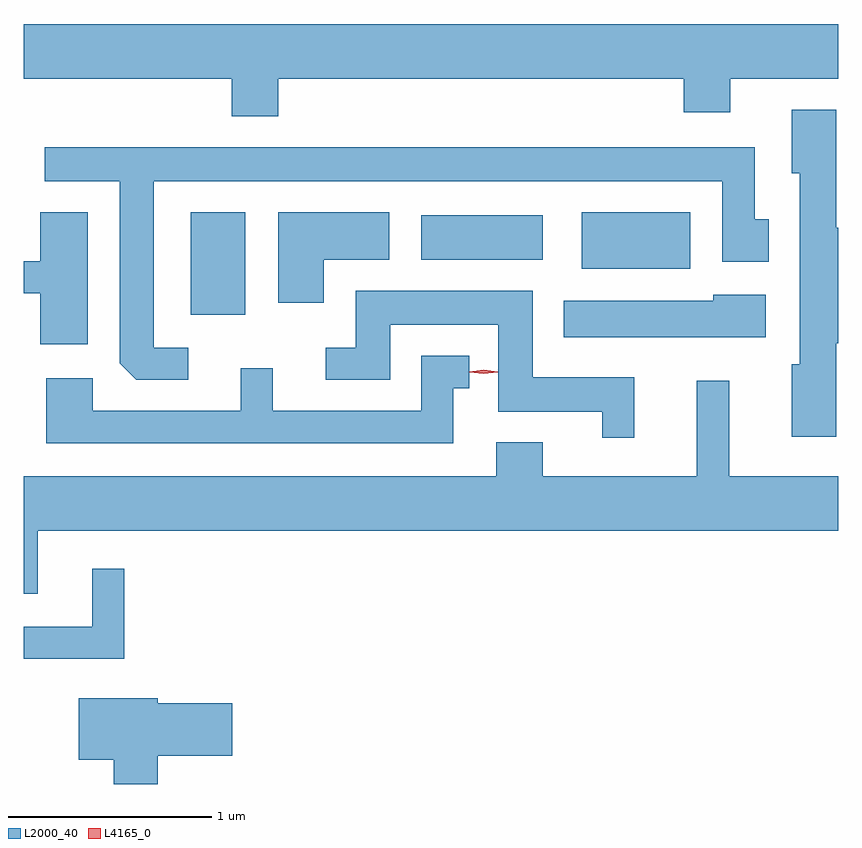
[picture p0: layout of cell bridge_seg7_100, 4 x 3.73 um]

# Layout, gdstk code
import gdstk
lib = gdstk.Library(unit=1e-6, precision=1e-09)
def R(c, l, rs):  # rectangles x0, y0, x1, y1
    for r in rs: c.add(gdstk.rectangle(r[:2], r[2:], *l))
def P(c, l, *ps):  # polygons
    for p in ps: c.add(gdstk.Polygon(p, *l))
L2000_40 = (2000, 40)
L4165_0 = (4165, 0)

bridge_seg7_100 = lib.new_cell('bridge_seg7_100')
R(bridge_seg7_100, L2000_40, [(1601.681,1750.896,1601.949,1751.399), (1603.601,1751.121,1604.134,1751.399), (1602.811,1751.166,1603.409,1751.384)])
P(bridge_seg7_100, L2000_40, [(1602.109,1752.056),(1604.101,1752.056),(1604.101,1751.891),(1604.329,1751.891),(1604.329,1752.056),(1604.86,1752.056),(1604.86,1752.324),(1600.86,1752.324),(1600.86,1752.056),(1601.881,1752.056),(1601.881,1751.871),(1602.109,1751.871)],
  [(1604.849,1750.756),(1604.86,1750.756),(1604.86,1751.324),(1604.849,1751.324),(1604.849,1751.904),(1604.631,1751.904),(1604.631,1751.591),(1604.671,1751.591),(1604.671,1750.654),(1604.631,1750.654),(1604.631,1750.296),(1604.849,1750.296)],
  [(1601.668,1750.734),(1601.499,1750.734),(1601.499,1751.551),(1604.291,1751.551),(1604.291,1751.156),(1604.519,1751.156),(1604.519,1751.364),(1604.449,1751.364),(1604.449,1751.719),(1600.963,1751.719),(1600.963,1751.551),(1601.331,1751.551),(1601.331,1750.657),(1601.412,1750.576),(1601.668,1750.576)],
  [(1601.174,1751.399),(1600.941,1751.399),(1600.941,1751.159),(1600.86,1751.159),(1600.86,1751.001),(1600.941,1751.001),(1600.941,1750.751),(1601.174,1750.751)],
  [(1602.334,1751.166),(1602.654,1751.166),(1602.654,1751.399),(1602.111,1751.399),(1602.111,1750.956),(1602.334,1750.956)],
  [(1603.859,1750.589),(1603.359,1750.589),(1603.359,1751.014),(1602.491,1751.014),(1602.491,1750.734),(1602.343,1750.734),(1602.343,1750.576),(1602.659,1750.576),(1602.659,1750.846),(1603.191,1750.846),(1603.191,1750.421),(1603.701,1750.421),(1603.701,1750.293),(1603.859,1750.293)],
  [(1604.504,1750.994),(1604.246,1750.994),(1604.246,1750.964),(1603.511,1750.964),(1603.511,1750.786),(1604.504,1750.786)],
  [(1602.969,1750.536),(1603.048,1750.536),(1603.048,1750.694),(1602.811,1750.694),(1602.811,1750.424),(1602.084,1750.424),(1602.084,1750.633),(1601.926,1750.633),(1601.926,1750.424),(1601.199,1750.424),(1601.199,1750.584),(1600.971,1750.584),(1600.971,1750.266),(1602.969,1750.266)],
  [(1600.929,1749.836),(1604.86,1749.836),(1604.86,1750.104),(1604.324,1750.104),(1604.324,1750.573),(1604.166,1750.573),(1604.166,1750.104),(1603.409,1750.104),(1603.409,1750.269),(1603.181,1750.269),(1603.181,1750.104),(1600.86,1750.104),(1600.86,1749.526),(1600.929,1749.526)],
  [(1601.354,1749.648),(1601.196,1749.648),(1601.196,1749.364),(1600.86,1749.364),(1600.86,1749.206),(1601.354,1749.206)],
  [(1601.519,1748.731),(1601.884,1748.731),(1601.884,1748.989),(1601.519,1748.989),(1601.519,1749.014),(1601.131,1749.014),(1601.131,1748.711),(1601.301,1748.711),(1601.301,1748.592),(1601.519,1748.592)])
P(bridge_seg7_100, L4165_0, [(1603.118,1750.606),(1603.049,1750.614),(1603.049,1750.615),(1603.049,1750.616),(1603.118,1750.625),(1603.188,1750.616),(1603.188,1750.616),(1603.188,1750.615)])

lib.write_gds('bridge_seg7_100.gds')
